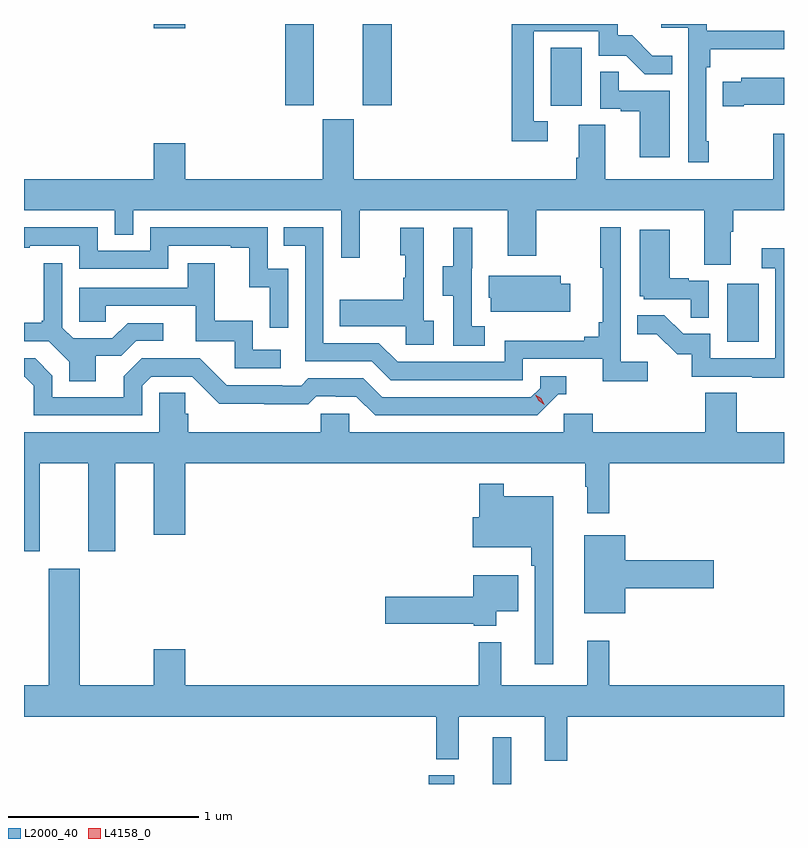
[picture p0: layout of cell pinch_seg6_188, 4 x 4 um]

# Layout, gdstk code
import gdstk
lib = gdstk.Library(unit=1e-6, precision=1e-09)
def R(c, l, rs):  # rectangles x0, y0, x1, y1
    for r in rs: c.add(gdstk.rectangle(r[:2], r[2:], *l))
def P(c, l, *ps):  # polygons
    for p in ps: c.add(gdstk.Polygon(p, *l))
L2000_40 = (2000, 40)
L4158_0 = (4158, 0)

pinch_seg6_188 = lib.new_cell('pinch_seg6_188')
R(pinch_seg6_188, L2000_40, [(1017.602,928.333,1017.736,928.378), (1017.939,928.333,1018.036,928.579), (1019.174,930.66,1019.338,930.967), (1018.244,931.902,1018.408,932.209), (1016.846,931.905,1016.998,932.333), (1017.254,931.905,1017.407,932.333), (1016.156,932.31,1016.32,932.333)])
P(pinch_seg6_188, L2000_40, [(1018.228,931.821),(1018.155,931.821),(1018.155,932.295),(1018.497,932.295),(1018.497,932.166),(1018.641,932.166),(1018.739,932.068),(1018.883,932.068),(1018.883,932.167),(1018.779,932.167),(1018.672,932.274),(1018.596,932.274),(1018.596,932.333),(1018.039,932.333),(1018.039,931.716),(1018.228,931.716)],
  [(1019.077,931.717),(1019.064,931.717),(1019.064,932.105),(1019.084,932.105),(1019.084,932.201),(1019.472,932.201),(1019.472,932.298),(1019.066,932.298),(1019.066,932.333),(1018.827,932.333),(1018.827,932.312),(1018.968,932.312),(1018.968,931.605),(1019.077,931.605)],
  [(1018.87,931.983),(1018.601,931.983),(1018.601,932.081),(1018.506,932.081),(1018.506,931.887),(1018.613,931.887),(1018.613,931.875),(1018.712,931.875),(1018.712,931.632),(1018.87,931.632)],
  [(1019.26,931.907),(1019.472,931.907),(1019.472,932.05),(1019.247,932.05),(1019.247,932.029),(1019.149,932.029),(1019.149,931.9),(1019.26,931.9)],
  [(1019.191,931.24),(1019.204,931.24),(1019.204,931.352),(1019.472,931.352),(1019.472,931.756),(1019.416,931.756),(1019.416,931.516),(1018.531,931.516),(1018.531,931.802),(1018.391,931.802),(1018.391,931.628),(1018.379,931.628),(1018.379,931.516),(1017.208,931.516),(1017.208,931.833),(1017.044,931.833),(1017.044,931.516),(1016.32,931.516),(1016.32,931.705),(1016.156,931.705),(1016.156,931.516),(1015.472,931.516),(1015.472,931.352),(1015.95,931.352),(1015.95,931.225),(1016.046,931.225),(1016.046,931.352),(1017.141,931.352),(1017.141,931.104),(1017.239,931.104),(1017.239,931.352),(1018.019,931.352),(1018.019,931.113),(1018.167,931.113),(1018.167,931.352),(1019.051,931.352),(1019.051,931.066),(1019.191,931.066)],
  [(1018.756,930.556),(1018.614,930.556),(1018.614,931.264),(1018.506,931.264),(1018.506,931.051),(1018.517,931.051),(1018.517,930.763),(1018.498,930.763),(1018.498,930.686),(1018.421,930.686),(1018.421,930.667),(1018.002,930.667),(1018.002,930.555),(1017.438,930.555),(1017.339,930.654),(1017.048,930.654),(1017.048,931.263),(1016.839,931.263),(1016.839,931.167),(1016.952,931.167),(1016.952,930.558),(1017.302,930.558),(1017.401,930.459),(1018.098,930.459),(1018.098,930.57),(1018.517,930.57),(1018.517,930.454),(1018.756,930.454)],
  [(1016.862,931.044),(1016.754,931.044),(1016.754,931.263),(1016.136,931.263),(1016.136,931.14),(1015.86,931.14),(1015.86,931.263),(1015.472,931.263),(1015.472,931.155),(1015.501,931.155),(1015.501,931.167),(1015.764,931.167),(1015.764,931.044),(1016.232,931.044),(1016.232,931.167),(1016.561,931.167),(1016.561,931.155),(1016.657,931.155),(1016.657,930.947),(1016.766,930.947),(1016.766,930.735),(1016.862,930.735)],
  [(1017.898,930.741),(1017.828,930.741),(1017.828,931.047),(1017.83,931.047),(1017.83,931.261),(1017.731,931.261),(1017.731,931.059),(1017.677,931.059),(1017.677,930.904),(1017.732,930.904),(1017.732,930.64),(1017.898,930.64)],
  [(1017.628,930.77),(1017.576,930.77),(1017.576,931.261),(1017.452,931.261),(1017.452,931.116),(1017.478,931.116),(1017.478,930.998),(1017.468,930.998),(1017.468,930.883),(1017.133,930.883),(1017.133,930.743),(1017.48,930.743),(1017.48,930.645),(1017.628,930.645)],
  [(1019.076,930.981),(1018.97,930.981),(1018.97,930.994),(1018.87,930.994),(1018.87,931.249),(1018.712,931.249),(1018.712,930.9),(1018.734,930.9),(1018.734,930.885),(1018.981,930.885),(1018.981,930.787),(1019.076,930.787)],
  [(1019.472,931.153),(1019.355,931.153),(1019.355,931.047),(1019.427,931.047),(1019.427,930.573),(1019.085,930.573),(1019.085,930.702),(1018.941,930.702),(1018.843,930.8),(1018.699,930.8),(1018.699,930.701),(1018.803,930.701),(1018.91,930.594),(1018.987,930.594),(1018.987,930.477),(1019.305,930.477),(1019.305,930.472),(1019.472,930.472)],
  [(1016.824,930.618),(1016.676,930.618),(1016.676,930.772),(1016.477,930.772),(1016.477,931.075),(1016.333,931.075),(1016.333,930.945),(1015.764,930.945),(1015.764,930.765),(1015.901,930.765),(1015.901,930.849),(1016.375,930.849),(1016.375,930.663),(1016.58,930.663),(1016.58,930.522),(1016.824,930.522)],
  [(1015.849,930.586),(1015.984,930.586),(1016.064,930.666),(1016.206,930.666),(1016.206,930.759),(1016.018,930.759),(1015.937,930.678),(1015.731,930.678),(1015.674,930.735),(1015.674,931.075),(1015.577,931.075),(1015.577,930.772),(1015.566,930.772),(1015.566,930.76),(1015.472,930.76),(1015.472,930.663),(1015.602,930.663),(1015.709,930.556),(1015.709,930.454),(1015.849,930.454)],
  [(1018.348,930.966),(1018.297,930.966),(1018.297,931.009),(1017.917,931.009),(1017.917,930.891),(1017.929,930.891),(1017.929,930.819),(1018.033,930.819),(1018.033,930.818),(1018.348,930.818)],
  [(1016.094,930.429),(1016.142,930.477),(1016.358,930.477),(1016.5,930.335),(1016.736,930.335),(1016.736,930.333),(1016.969,930.333),(1017.011,930.375),(1017.114,930.375),(1017.114,930.372),(1017.221,930.372),(1017.32,930.273),(1018.173,930.273),(1018.284,930.384),(1018.327,930.384),(1018.327,930.48),(1018.188,930.48),(1018.188,930.417),(1018.14,930.369),(1017.357,930.369),(1017.258,930.468),(1016.969,930.468),(1016.93,930.429),(1016.831,930.429),(1016.831,930.432),(1016.538,930.432),(1016.397,930.573),(1016.091,930.573),(1015.997,930.479),(1015.997,930.369),(1015.62,930.369),(1015.62,930.483),(1015.53,930.573),(1015.472,930.573),(1015.472,930.477),(1015.476,930.477),(1015.524,930.429),(1015.524,930.273),(1016.094,930.273)],
  [(1018.314,930.184),(1017.183,930.184),(1017.183,930.282),(1017.033,930.282),(1017.033,930.184),(1016.336,930.184),(1016.336,930.282),(1016.321,930.282),(1016.321,930.392),(1016.184,930.392),(1016.184,930.184),(1015.472,930.184),(1015.472,929.559),(1015.555,929.559),(1015.555,930.02),(1015.811,930.02),(1015.811,929.559),(1015.951,929.559),(1015.951,930.02),(1016.156,930.02),(1016.156,929.646),(1016.32,929.646),(1016.32,930.02),(1018.425,930.02),(1018.425,929.897),(1018.436,929.897),(1018.436,929.757),(1018.553,929.757),(1018.553,930.02),(1019.472,930.02),(1019.472,930.184),(1019.222,930.184),(1019.222,930.392),(1019.057,930.392),(1019.057,930.184),(1018.466,930.184),(1018.466,930.282),(1018.314,930.282)],
  [(1018.258,929.848),(1017.997,929.848),(1017.997,929.914),(1017.868,929.914),(1017.868,929.737),(1017.834,929.737),(1017.834,929.579),(1018.141,929.579),(1018.141,929.483),(1018.161,929.483),(1018.161,928.962),(1018.258,928.962)],
  [(1018.636,929.363),(1019.101,929.363),(1019.101,929.51),(1018.636,929.51),(1018.636,929.641),(1018.421,929.641),(1018.421,929.231),(1018.636,929.231)],
  [(1018.331,928.688),(1019.472,928.688),(1019.472,928.852),(1018.553,928.852),(1018.553,929.086),(1018.436,929.086),(1018.436,928.852),(1017.983,928.852),(1017.983,929.08),(1017.865,929.08),(1017.865,928.852),(1016.32,928.852),(1016.32,929.041),(1016.156,929.041),(1016.156,928.852),(1015.765,928.852),(1015.765,929.467),(1015.601,929.467),(1015.601,928.852),(1015.472,928.852),(1015.472,928.688),(1017.643,928.688),(1017.643,928.463),(1017.761,928.463),(1017.761,928.688),(1018.214,928.688),(1018.214,928.455),(1018.331,928.455)],
  [(1017.958,929.243),(1018.072,929.243),(1018.072,929.431),(1017.836,929.431),(1017.836,929.318),(1017.372,929.318),(1017.372,929.176),(1017.84,929.176),(1017.84,929.165),(1017.958,929.165)])
P(pinch_seg6_188, L4158_0, [(1018.211,930.33),(1018.18,930.35),(1018.163,930.382),(1018.163,930.383),(1018.164,930.383),(1018.195,930.363),(1018.211,930.331),(1018.211,930.33)])

lib.write_gds('pinch_seg6_188.gds')
